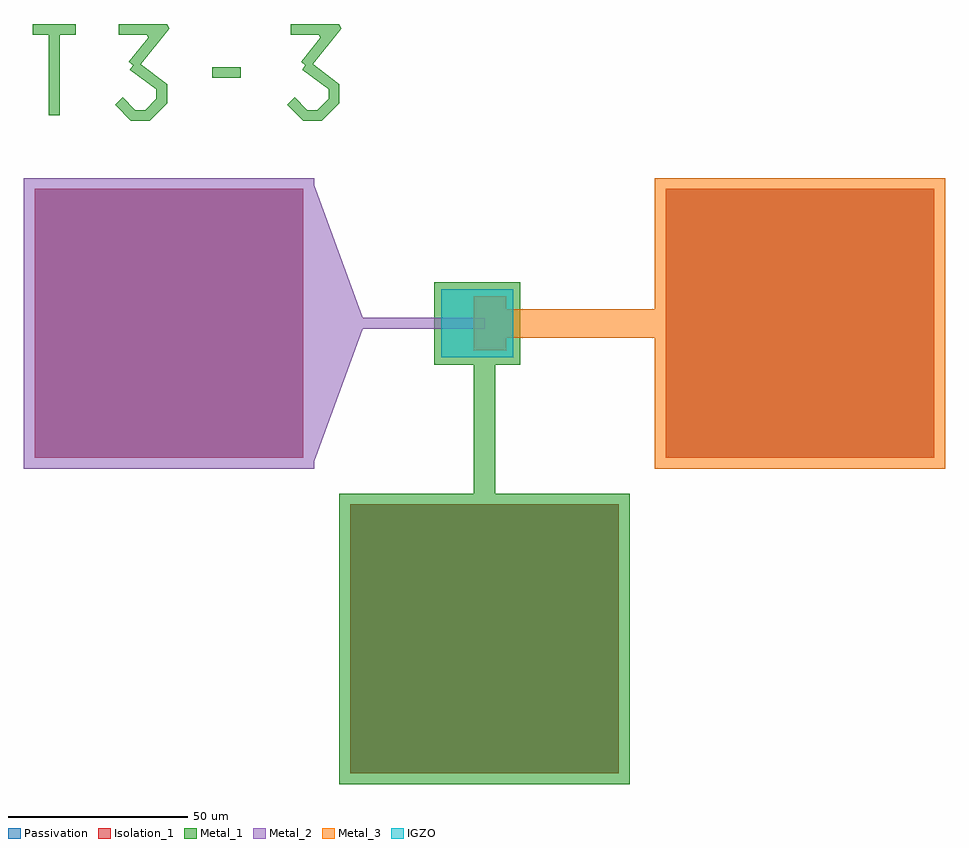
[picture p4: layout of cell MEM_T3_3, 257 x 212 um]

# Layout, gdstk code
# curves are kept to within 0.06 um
import gdstk
lib = gdstk.Library(unit=1e-6, precision=1e-09)
def R(c, l, rs):  # rectangles x0, y0, x1, y1
    for r in rs: c.add(gdstk.rectangle(r[:2], r[2:], *l))
def P(c, l, *ps):  # polygons
    for p in ps: c.add(gdstk.Polygon(p, *l))
Metal_1 = (1, 0)
Isolation_1 = (2, 0)
Metal_2 = (3, 0)
IGZO = (4, 0)
Metal_3 = (5, 0)
Passivation = (6, 0)

mem_t3_3 = lib.new_cell('MEM_T3_3')
R(mem_t3_3, Metal_1, [(87.5,-0.5,168.5,80.5), (52,196.5,60,199.5)])
P(mem_t3_3, Metal_1, [(29.378,184.5),(24.939,188.939),(27.061,191.061),(30.622,187.5),(33.378,187.5),(36.5,190.622),(36.5,193.25),(29.1,198.8),(29.999,200),(28.83,200.937),(34.204,207.656),(33.798,208.5),(26,208.5),(26,211.5),(39.5,211.5),(40.108,210.234),(32.158,200.297),(39.5,194.75),(39.5,189.378),(34.622,184.5)],
  [(77.378,184.5),(72.939,188.939),(75.061,191.061),(78.622,187.5),(81.378,187.5),(84.5,190.622),(84.5,193.25),(77.1,198.8),(77.999,200),(76.83,200.937),(82.204,207.656),(81.798,208.5),(74,208.5),(74,211.5),(87.5,211.5),(88.108,210.234),(80.158,200.297),(87.5,194.75),(87.5,189.378),(82.622,184.5)],
  [(6.5,186),(6.5,208.5),(2,208.5),(2,211.5),(14,211.5),(14,208.5),(9.5,208.5),(9.5,186)],
  [(88,0),(88,80),(125,80),(125,116.5),(114,116.5),(114,139.5),(138,139.5),(138,116.5),(131,116.5),(131,80),(168,80),(168,0)])
R(mem_t3_3, Isolation_1, [(90.5,2.5,165.5,77.5), (2.5,90.5,77.5,165.5), (178.5,90.5,253.5,165.5)])
R(mem_t3_3, Metal_2, [(-0.5,87.5,80.5,168.5), (0,88,80,168)])
P(mem_t3_3, Metal_2, [(80,88),(80,168),(94,129.5),(128,129.5),(128,126.5),(94,126.5)])
R(mem_t3_3, IGZO, [(116,118.5,136,137.5)])
R(mem_t3_3, Metal_3, [(175.5,87.5,256.5,168.5)])
P(mem_t3_3, Metal_3, [(176,88),(176,124),(134,124),(134,120.5),(125,120.5),(125,135.5),(134,135.5),(134,132),(176,132),(176,168),(256,168),(256,88)])
R(mem_t3_3, Passivation, [(90.5,2.5,165.5,77.5), (2.5,90.5,77.5,165.5), (178.5,90.5,253.5,165.5)])

lib.write_gds('MEM_T3_3.gds')
